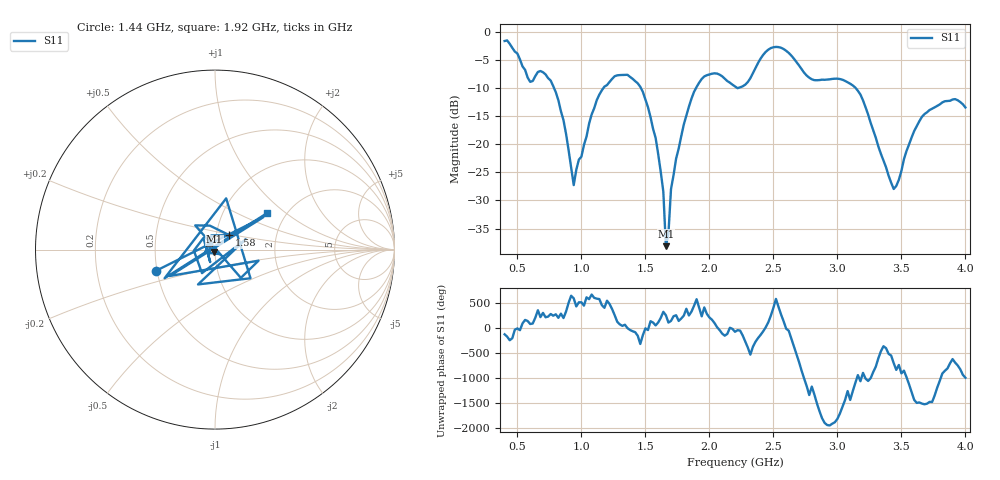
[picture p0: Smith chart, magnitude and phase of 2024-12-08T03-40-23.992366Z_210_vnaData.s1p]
!Created with skrf (http://scikit-rf.org).
# Hz S RI R 50.0
!freq ReS11 ImS11
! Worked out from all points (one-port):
!   181 points, 400 MHz to 4 GHz, reference 50 ohm
!   lowest |S11| = -38.1 dB at 1.66 GHz (marker M1), VSWR 1.03, Z = 49.5 - j1.14 ohm
!   |S11| at or under -10 dB: 786 MHz to 1.172 GHz (386.3 MHz wide, 39.5 % of centre); 1.465 GHz to 1.896 GHz (431.1 MHz wide, 25.7 % of centre); 3.142 GHz to end of sweep (the widest 3 of 4)
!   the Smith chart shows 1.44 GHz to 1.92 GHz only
!   S11 on the Smith chart (normalised r, x): 1.44 GHz: 0.49, -0.13; 1.58 GHz: 1.16, +0.19; 1.92 GHz: 1.60, +0.74
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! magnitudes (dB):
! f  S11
! 400 MHz  -1.6
! 600 MHz  -8.9
! 680 MHz  -7.0
! 760 MHz  -8.7
! 860 MHz  -15.7
! 940 MHz  -27.3
! 1.12 GHz  -12.2
! 1.3 GHz  -7.7
! 1.44 GHz  -9.2
! 1.58 GHz  -18.9
! 1.64 GHz  -28.4
! 1.66 GHz  -38.1
! 1.68 GHz  -35.9
! 1.7 GHz  -28.0
! 1.76 GHz  -20.8
! 1.92 GHz  -9.0
! 2.06 GHz  -7.4
! 2.2 GHz  -9.7
! 2.3 GHz  -8.9
! 2.48 GHz  -2.9
! 2.66 GHz  -4.8
! 2.8 GHz  -8.5
! 3.1 GHz  -9.2
! 3.2 GHz  -12.2
! 3.44 GHz  -28.0
! 3.56 GHz  -20.0
! 3.72 GHz  -13.9
! 4 GHz  -13.5
